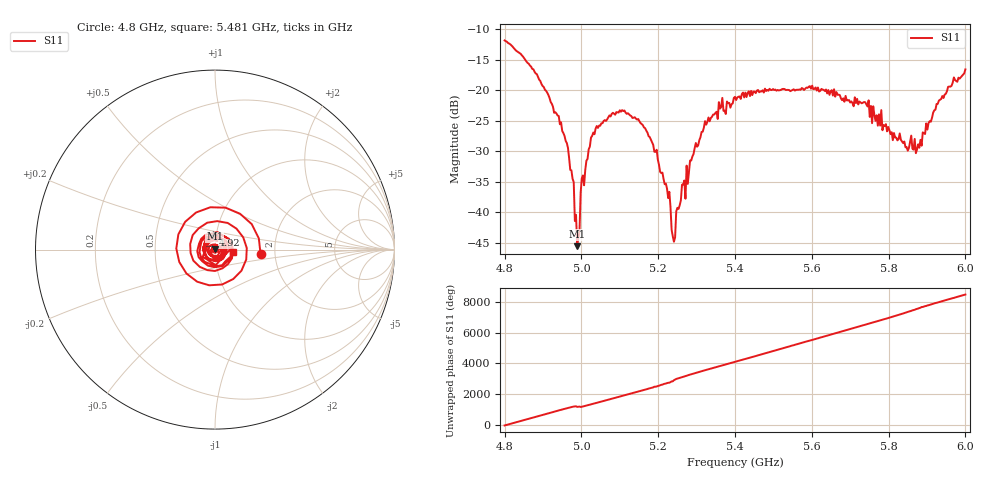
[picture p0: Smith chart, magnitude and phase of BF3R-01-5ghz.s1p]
! NanoVNA-App
! Date: 2026-05-22 16:06:01
! Start: 4.8GHz Stop: 6GHz Points: 401
! S-Parameter data: F S11
# Hz S RI R 50
!  Frequency  S11_Real  S11_Imag
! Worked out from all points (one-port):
!   401 points, 4.8 GHz to 6 GHz, reference 50 ohm
!   lowest |S11| = -45.5 dB at 4.989 GHz (marker M1), VSWR 1.01, Z = 49.8 + j0.489 ohm
!   |S11| at or under -10 dB: start of sweep to end of sweep
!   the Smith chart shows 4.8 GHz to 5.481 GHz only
!   S11 on the Smith chart (normalised r, x): 4.8 GHz: 1.68, -0.10; 4.92 GHz: 0.97, +0.16; 5.481 GHz: 1.22, -0.03
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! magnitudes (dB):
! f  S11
! 4.8 GHz  -11.9
! 4.869 GHz  -16.1
! 4.92 GHz  -21.9
! 4.95 GHz  -26.7
! 4.962 GHz  -28.6
! 4.974 GHz  -33.1
! 4.989 GHz  -45.5
! 4.995 GHz  -43.2
! 5.004 GHz  -34.0
! 5.031 GHz  -26.9
! 5.1 GHz  -23.3
! 5.166 GHz  -26.2
! 5.19 GHz  -30.1
! 5.223 GHz  -36.1
! 5.238 GHz  -43.9
! 5.25 GHz  -39.3
! 5.289 GHz  -30.8
! 5.325 GHz  -25.6
! 5.4 GHz  -21.1
! 5.481 GHz  -20.1
! 5.55 GHz  -20.0
! 5.595 GHz  -19.3
! 5.7 GHz  -22.0
! 5.742 GHz  -22.3
! 5.85 GHz  -29.9
! 5.88 GHz  -29.4
! 5.931 GHz  -21.7
! 6 GHz  -16.6
